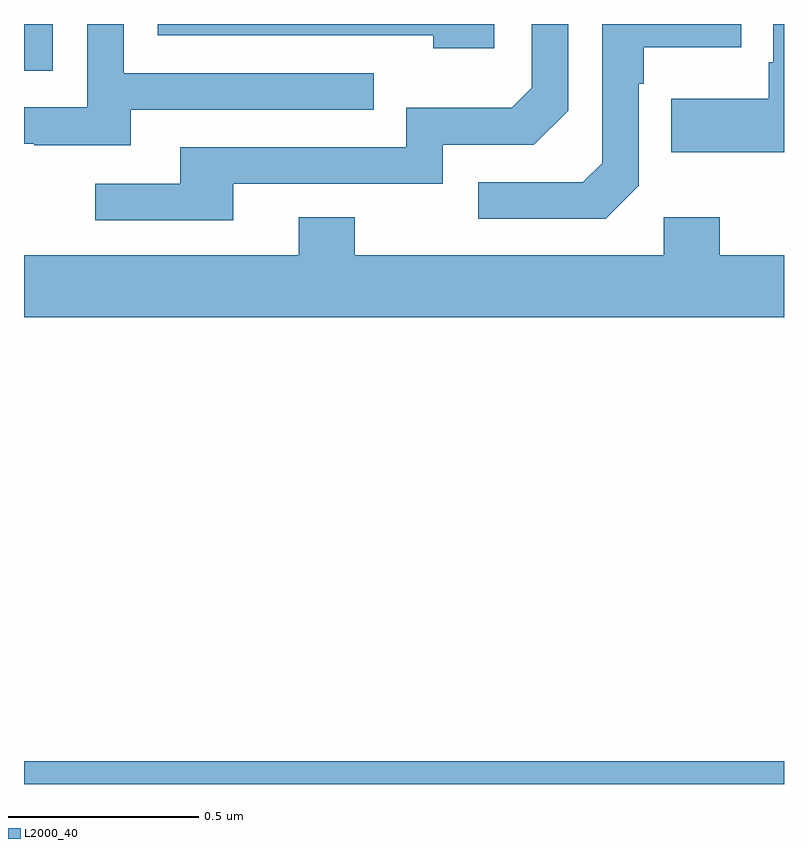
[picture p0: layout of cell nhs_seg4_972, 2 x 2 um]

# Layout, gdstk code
import gdstk
lib = gdstk.Library(unit=1e-6, precision=1e-09)
def R(c, l, rs):  # rectangles x0, y0, x1, y1
    for r in rs: c.add(gdstk.rectangle(r[:2], r[2:], *l))
def P(c, l, *ps):  # polygons
    for p in ps: c.add(gdstk.Polygon(p, *l))
L2000_40 = (2000, 40)

nhs_seg4_972 = lib.new_cell('nhs_seg4_972')
R(nhs_seg4_972, L2000_40, [(122,820.9,124,820.96), (122,822.777,122.076,822.9)])
P(nhs_seg4_972, L2000_40, [(123.618,822.474),(123.618,822.743),(123.631,822.743),(123.631,822.839),(123.887,822.839),(123.887,822.9),(123.522,822.9),(123.522,822.534),(123.471,822.483),(123.195,822.483),(123.195,822.387),(123.531,822.387)],
  [(122.551,822.48),(123.102,822.48),(123.102,822.582),(123.342,822.582),(123.432,822.672),(123.432,822.9),(123.336,822.9),(123.336,822.732),(123.283,822.679),(123.006,822.679),(123.006,822.576),(122.411,822.576),(122.411,822.48),(122.187,822.48),(122.187,822.384),(122.551,822.384)],
  [(122.281,822.675),(122.921,822.675),(122.921,822.771),(122.262,822.771),(122.262,822.9),(122.166,822.9),(122.166,822.681),(122,822.681),(122,822.585),(122.027,822.585),(122.027,822.581),(122.281,822.581)],
  [(124,822.9),(123.972,822.9),(123.972,822.799),(123.96,822.799),(123.96,822.703),(123.703,822.703),(123.703,822.563),(124,822.563)],
  [(123.238,822.9),(122.352,822.9),(122.352,822.87),(123.077,822.87),(123.077,822.836),(123.238,822.836)],
  [(124,822.292),(123.831,822.292),(123.831,822.391),(123.684,822.391),(123.684,822.292),(122.871,822.292),(122.871,822.391),(122.723,822.391),(122.723,822.292),(122,822.292),(122,822.128),(124,822.128)])

lib.write_gds('nhs_seg4_972.gds')
